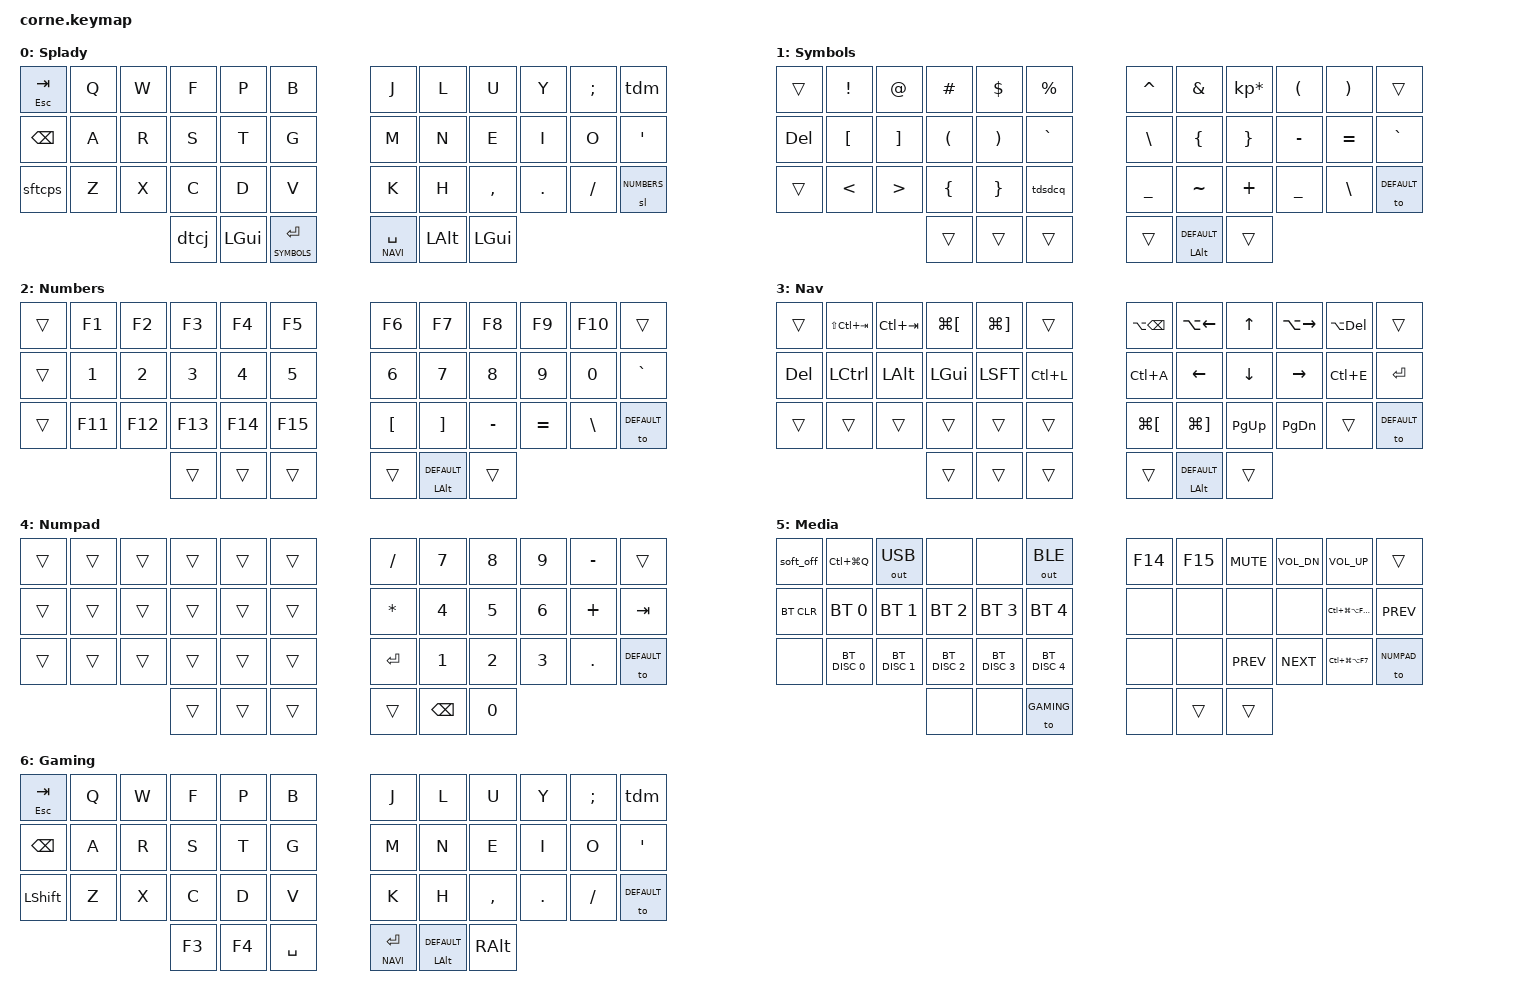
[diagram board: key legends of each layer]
/*
 * Copyright (c) 2020 The ZMK Contributors
 *
 * SPDX-License-Identifier: MIT
 *
 * Configured by: Aaron Splady
 * Repo: https://github.com/splady/zmk-config
 */

#include <behaviors.dtsi>
#include <dt-bindings/zmk/keys.h>
#include <dt-bindings/zmk/bt.h>
#include <dt-bindings/zmk/outputs.h>

#define DEFAULT 0
#define SYMBOLS 1
#define NUMBERS 2
#define NAVI    3
#define NUMPAD  4
#define MEDIA   5
#define GAMING  6

#define JUMP    LC(LG(LALT))    // used in auto hotkey to launch apps and a few other utilities
#define AUDOUT  LC(LG(LA(F11))) // used to swap audio output using SoundSwitch on Windows, 
#define AUDIN   LC(LG(LA(F7)))  // used to swap audio input using SoundSwitch on Windows, 

/ {
        keys {
                compatible = "gpio-keys";

                // Left Shift and right Numbers: bottom outer key on each half.
                outer_bottom_key: outer_bottom_key {
                        gpios = <&pro_micro 6 (GPIO_ACTIVE_HIGH | GPIO_PULL_DOWN)>;
                };
        };

        wakeup_scan: wakeup_scan {
                compatible = "zmk,gpio-key-wakeup-trigger";
                trigger = <&outer_bottom_key>;
                wakeup-source;
                extra-gpios = <&pro_micro 21 GPIO_ACTIVE_HIGH>;
        };

        soft_off_wakers {
                compatible = "zmk,soft-off-wakeup-sources";
                wakeup-sources = <&wakeup_scan>;
        };

        behaviors {
                lt {
                        tapping-term-ms = <321>;
                };
                nav_spc: navigation_space {
                        compatible = "zmk,behavior-hold-tap";
                        #binding-cells = <2>;
                        tapping-term-ms = <321>;
                        quick-tap-ms = <0>;
                        flavor = "tap-preferred";
                        require-prior-idle-ms = <150>;
                        bindings = <&mo>, <&kp>;
                };
                th: tap_hold {
                        compatible = "zmk,behavior-hold-tap";
                        label ="TAP_HOLD";
                        #binding-cells = <2>;
                        tapping-term-ms = <321>;
                        quick-tap-ms = <0>;
                        flavor = "tap-preferred";
                        bindings = <&kp>, <&kp>;
                };
                tlhk: tap_layer_hold_key {
                        compatible = "zmk,behavior-hold-tap";
                        label ="TAP_LAYER_HOLD_KEY";
                        #binding-cells = <2>;
                        tapping-term-ms = <321>;
                        quick-tap-ms = <0>;
                        flavor = "tap-preferred";
                        bindings = <&kp>, <&to>;
                };      
                smart_caps: smart_caps_word {
                        compatible = "zmk,behavior-caps-word";
                        label = "SMART_CAPS";
                        #binding-cells = <0>;
                        continue-list = <UNDERSCORE MINUS PLUS STAR LPAR RPAR SPACE TAB RET>;
                };
                sftcps: shift_caps_word {
                        compatible = "zmk,behavior-tap-dance";
                        label = "SHIFT_CAPS_WORD";
                        #binding-cells = <0>;
                        tapping-term-ms = <321>;
                        bindings = <&kp LSHIFT>, <&smart_caps>;
                };
                tdm: tap_dance_media {
                        compatible = "zmk,behavior-tap-dance";
                        label = "TAP_DANCE_MEDIA";
                        #binding-cells = <0>;
                        tapping-term-ms = <321>;
                        bindings = <&lt MEDIA C_PLAY_PAUSE>, <&th C_MUTE C_NEXT>;
                };
                tdsdcq: tap_dance_sdcq {
                        // Tap Dance Space Dot Comma Question
                        // useful when using a mouse in your right hand while coding
                        compatible = "zmk,behavior-tap-dance";
                        label = "TAP_DANCE_SDCQ";
                        #binding-cells = <0>;
                        tapping-term-ms = <321>;
                        bindings = <&th DOT SPACE>, <&th QMARK COMMA>;
                };
                dtag: double_tap_alt_gui {
                        compatible = "zmk,behavior-tap-dance";
                        label ="DOUBLE_TAP_ALT_GUI";
                        #binding-cells = <0>;
                        tapping-term-ms = <321>;
                        bindings = <&kp LALT>, <&kp LGUI>;
                };
                dtcj: double_tap_ctl_jump {
                        compatible = "zmk,behavior-tap-dance";
                        label ="DOUBLE_TAP_CTL_JUMP";
                        #binding-cells = <0>;
                        tapping-term-ms = <321>;
                        bindings = <&kp LCTRL>, <&kp JUMP>;
                };
                tdlyr: tap_dance_layers {
                        compatible = "zmk,behavior-tap-dance";
                        label = "TAP_DANCE_LAYERS";
                        #binding-cells = <0>;
                        tapping-term-ms = <321>;
                        bindings = <&mo SYMBOLS>, <&to NUMPAD>, <&to GAMING>;
                };
        };

        keymap {
                compatible = "zmk,keymap";

                default_layer {
                        display-name = "Splady";
// -----------------------------------------------------------------------------------------
// | TAB  |  Q  |  W  |  F  |  P  |  B  |\__/|  J  |  L  |  U  |  Y  |  ;  | Media |
// | BSPC |  A  |  R  |  S  |  T  |  G  |\__/|  M  |  N  |  E  |  I  |  O  |   '   |
// | SHFT |  Z  |  X  |  C  |  D  |  V  |\__/|  K  |  H  |  ,  |  .  |  /  | Nums  |  
//                    | JUMP| GUI | ENT |\__/| SPC | ALT | CMD |
                        bindings = <
   &th ESC TAB &kp Q &kp W &kp F &kp P &kp B  /**/ &kp J &kp L &kp U     &kp Y   &kp SEMI &tdm
   &kp BSPC    &kp A &kp R &kp S &kp T &kp G  /**/ &kp M &kp N &kp E     &kp I   &kp O    &kp SQT
   &sftcps     &kp Z &kp X &kp C &kp D &kp V  /**/ &kp K &kp H &kp COMMA &kp DOT &kp FSLH &sl NUMBERS
               &dtcj &kp LGUI &lt SYMBOLS RET /**/ &nav_spc NAVI SPACE   &kp LALT  &kp LGUI
                        >;
                };

                symbols_layer {
                        display-name = "Symbols";
// -----------------------------------------------------------------------------------------
// |     |  !  |  @  |  #  |  $  |  %  |\__/|  ^  |  &  |  *  |  (  |  )  |   |
// | DEL |  [  |  ]  |  (  |  )  |  `  |\__/|  \  |  {  |  }  |  -  |  =  | ` |
// |     |  <  |  >  |  {  |  }  |  .  |\__/|  _  |  ~  |  +  |  _  |  \  | BASE |
//                   | JUMP|     | ENT |\__/| SPC | ALT |     |
                        bindings = <
   &trans  &kp EXCL      &kp AT           &kp HASH &kp DLLR &kp PRCNT /**/ &kp CARET &kp AMPS  &kp KP_MULTIPLY &kp LPAR  &kp RPAR  &trans
   &kp DEL &kp LBKT      &kp RBKT         &kp LPAR &kp RPAR &kp GRAVE /**/ &kp BSLH  &kp LBRC  &kp RBRC        &kp MINUS &kp EQUAL &kp GRAVE
   &trans  &kp LESS_THAN &kp GREATER_THAN &kp LBRC &kp RBRC &tdsdcq   /**/ &kp UNDER &kp TILDE &kp PLUS        &kp UNDER &kp BSLH  &to DEFAULT
                    	                  &trans   &trans   &trans    /**/ &trans    &tlhk LALT DEFAULT            &trans
                        >;
                };

                numbers_layer {
                        display-name = "Numbers";
// -----------------------------------------------------------------------------------------
// | TAB  |  F1 |  F2 |  F3 |  F4 |  F5 |\__/|  F6 |  F7 |  F8 |  F9 | F10 |    |
// | BSPC |  1  |  2  |  3  |  4  |  5  |\__/|  6  |  7  |  8  |  9  |  0  |  ` |
// | SHFT | F11 | F12 | F13 | F14 | F15 |\__/|  [  |  ]  |  -  |  =  |  \  | BASE |
//                    | JUMP|     | ENT |\__/| SPC | ALT |     |
                        bindings = <
   &trans &kp F1  &kp F2  &kp F3  &kp F4  &kp F5  /**/ &kp F6   &kp F7   &kp F8    &kp F9    &kp F10  &trans
   &trans &kp N1  &kp N2  &kp N3  &kp N4  &kp N5  /**/ &kp N6   &kp N7   &kp N8    &kp N9    &kp N0   &kp GRAVE
   &trans &kp F11 &kp F12 &kp F13 &kp F14 &kp F15 /**/ &kp LBKT &kp RBKT &kp MINUS &kp EQUAL &kp BSLH &to DEFAULT
                          &trans  &trans  &trans  /**/ &trans   &tlhk LALT DEFAULT   &trans
                        >;
                };

                navigation_layer {
                        display-name = "Nav";
// -----------------------------------------------------------------------------------------
// |     | <-Tab | ->Tab | back | fwrd |     |\__/| a(BSP) | a(LFT) | UP    | a(RGT) | a(DEL) |    |
// | DEL |  CTL  | ALT   | GUI  | SFT  | c(L) |\__/| HOME   | LFT    | DWN   | RGT    | END    | ENT |
// |     |       |       |      |      |     |\__/| Back | fwrd   | PG_UP | PG_DN  |     | BASE |
//                       |      |      |     |\__/|      | ALT    |       |
                        bindings = <
   &trans  &kp LS(LC(TAB)) &kp LC(TAB) &kp LG(LBKT) &kp LG(RBKT) &trans    /**/ &kp LA(BSPC) &kp LA(LEFT) &kp UP    &kp LA(RIGHT) &kp LA(DEL)   &trans
   &kp DEL &kp LCTL        &kp LALT    &kp LGUI     &kp LSFT     &kp LC(L) /**/ &kp LC(A)    &kp LEFT     &kp DOWN  &kp RIGHT     &kp LC(E)     &kp RET
   &trans  &trans          &trans      &trans       &trans       &trans    /**/ &kp LG(LBKT) &kp LG(RBKT) &kp PG_UP &kp PG_DN     &trans        &to DEFAULT
                                       &trans       &trans       &trans    /**/ &trans       &tlhk LALT DEFAULT     &trans
                        >;
                };

                numpad_layer {
                        display-name = "Numpad";
// -----------------------------------------------------------------------------------------
// |   |   |   |   |   |   |\__/|  /   |  7  |  8  |  9  |  -  |      |
// |   |   |   |   |   |   |\__/|  *   |  4  |  5  |  6  |  +  | TAB  |
// |   |   |   |   |   |   |\__/| ENT  |  1  |  2  |  3  |  .  | BASE |
//             |   |   |   |\__/| SPC  | BSPC|  0  |
                        bindings = <
   &trans &trans &trans &trans &trans &trans /**/ &kp SLASH &kp N7  &kp N8  &kp N9  &kp MINUS &trans
   &trans &trans &trans &trans &trans &trans /**/ &kp STAR  &kp N4  &kp N5  &kp N6  &kp PLUS  &kp TAB
   &trans &trans &trans &trans &trans &trans /**/ &kp ENTER &kp N1  &kp N2  &kp N3  &kp DOT   &to DEFAULT
                        &trans &trans &trans /**/ &trans    &kp BSPC                &kp N0
                        >;
                };

                media_layer {
                        display-name = "Media";
// -----------------------------------------------------------------------------------------
// the USB and BLE keys set the prefered output method when a usb cable is plugged in. 
// |  OFF  | LOCK| USB |     |     | BLE |\__/| BRI- | BRI+ | MUTE | VOL_DN | VOL_UP |    |
// | BTCLR | BT1 | BT2 | BT3 | BT4 | BT5 |\__/|     |     |      |        | AUDOUT | PREV |
// |       | DC1 | DC2 | DC3 | DC4 | DC5 |\__/|     |     | PREV |  NEXT  | AUDIN  | NPAD |
//                     |     |     | GAME|\__/|     | ALT | CMD  |
                        bindings = <
   &soft_off  &kp LC(LG(Q)) &out OUT_USB  &none         &none         &out OUT_BLE  /**/ &kp F14 &kp F15 &kp C_MUTE &kp C_VOL_DN &kp C_VOL_UP &trans
   &bt BT_CLR &bt BT_SEL 0  &bt BT_SEL 1  &bt BT_SEL 2  &bt BT_SEL 3  &bt BT_SEL 4  /**/ &none   &none   &none      &none        &kp AUDOUT   &kp C_PREV
   &none      &bt BT_DISC 0 &bt BT_DISC 1 &bt BT_DISC 2 &bt BT_DISC 3 &bt BT_DISC 4 /**/ &none   &none   &kp C_PREV &kp C_NEXT   &kp AUDIN    &to NUMPAD
                                   &none   &none   &to GAMING      /**/ &none   &trans                         &trans
                        >;
                };

                gaming_layer {
                        display-name = "Gaming";
// -----------------------------------------------------------------------------------------
// | TAB  |  Q  |  W  |  F  |  P  |  B  |\__/|  J  |  L   |  U  |  Y  |  ;  | Media |
// | BSPC |  A  |  R  |  S  |  T  |  G  |\__/|  M  |  N   |  E  |  I  |  O  |   '   |
// | SHFT |  Z  |  X  |  C  |  D  |  V  |\__/|  K  |  H   |  ,  |  .  |  /  | BASE  |
//                    | F3  | F4  | SPC |\__/| ENT | ALT  | RALT |
                        bindings = <
   &th ESC TAB &kp Q &kp W &kp F &kp P &kp B /**/ &kp J &kp L &kp U     &kp Y      &kp SEMI &tdm
   &kp BSPC    &kp A &kp R &kp S &kp T &kp G /**/ &kp M &kp N &kp E     &kp I      &kp O    &kp SQT
   &kp LSHFT   &kp Z &kp X &kp C &kp D &kp V /**/ &kp K &kp H &kp COMMA &kp DOT    &kp FSLH &to DEFAULT
               &kp F3  &kp F4   &kp SPACE   /**/ &nav_spc NAVI RET          &tlhk LALT DEFAULT  &kp RALT
                        >;
                };
        };
};
